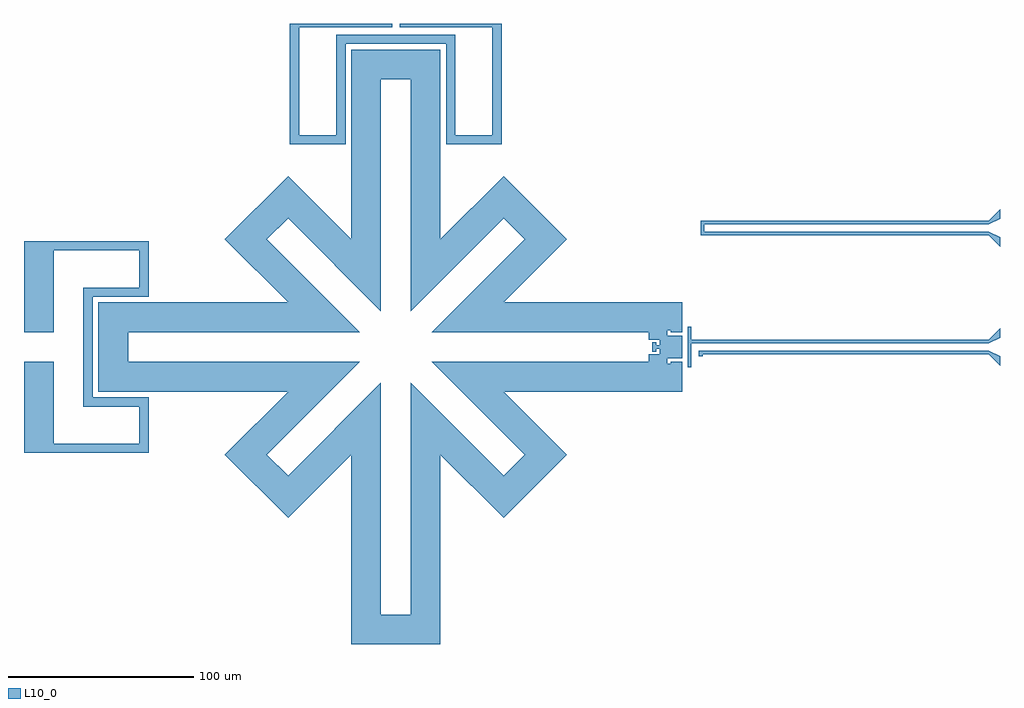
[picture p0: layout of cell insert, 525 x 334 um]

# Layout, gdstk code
import gdstk
lib = gdstk.Library(unit=1e-6, precision=1e-09)
def P(c, l, *ps):  # polygons
    for p in ps: c.add(gdstk.Polygon(p, *l))
L10_0 = (10, 0)

insert = lib.new_cell('insert')
P(insert, L10_0, [(525,54),(519,60),(364,60),(364,68),(519,68),(525,74),(525,69),(519,66),(366,66),(366,62),(519,62),(525,59)],
  [(525,-10),(519,-4),(365,-4),(365,-5),(363,-5),(363,-2),(519,-2),(525,-5)],
  [(143,109),(143,174),(198,174),(198,172),(148,172),(148,114),(168,114),(168,168),(232,168),(232,114),(252,114),(252,172),(202,172),(202,174),(257,174),(257,109),(227,109),(227,163),(173,163),(173,109)],
  [(0,-57),(0,-8),(16,-8),(16,-52),(62,-52),(62,-32),(32,-32),(32,32),(62,32),(62,52),(16,52),(16,8),(0,8),(0,57),(67,57),(67,27),(37,27),(37,-27),(67,-27),(67,-57)],
  [(357,-11),(357,11),(359,11),(359,4),(519,4),(525,10),(525,5),(519,2),(359,2),(359,-11)],
  [(176,-160),(176,-57.941),(142.017,-91.924),(108.076,-57.983),(142.059,-24),(40,-24),(40,24),(142.059,24),(108.076,57.983),(142.017,91.924),(176,57.941),(176,144),(192,144),(192,19.313),(142.017,69.296),(130.704,57.983),(180.687,8),(56,8),(56,-8),(180.687,-8),(130.704,-57.983),(142.017,-69.296),(192,-19.313),(192,-144),(208,-144),(208,-19.313),(257.983,-69.296),(269.296,-57.983),(219.313,-8),(336,-8),(336,-4),(342,-4),(342,-1),(340,-1),(340,-2.5),(338,-2.5),(338,2.5),(340,2.5),(340,1),(342,1),(342,4),(336,4),(336,8),(219.313,8),(269.296,57.983),(257.983,69.296),(208,19.313),(208,144),(176,144),(176,160),(224,160),(224,57.941),(257.983,91.924),(291.924,57.983),(257.941,24),(354,24),(354,8),(348,8),(348,9),(346,9),(346,6),(354,6),(354,-6),(346,-6),(346,-9),(348,-9),(348,-8),(354,-8),(354,-24),(257.941,-24),(291.924,-57.983),(257.983,-91.924),(224,-57.941),(224,-160)])

lib.write_gds('insert.gds')
